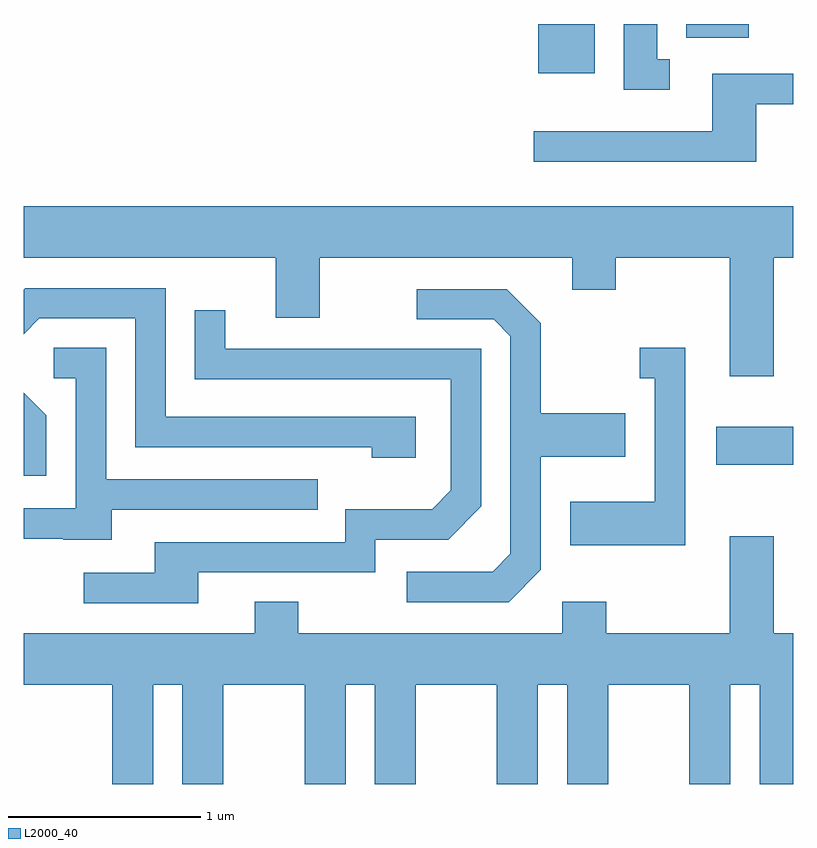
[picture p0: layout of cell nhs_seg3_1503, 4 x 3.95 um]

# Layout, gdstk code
import gdstk
lib = gdstk.Library(unit=1e-6, precision=1e-09)
def R(c, l, rs):  # rectangles x0, y0, x1, y1
    for r in rs: c.add(gdstk.rectangle(r[:2], r[2:], *l))
def P(c, l, *ps):  # polygons
    for p in ps: c.add(gdstk.Polygon(p, *l))
L2000_40 = (2000, 40)

nhs_seg3_1503 = lib.new_cell('nhs_seg3_1503')
R(nhs_seg3_1503, L2000_40, [(233.211,1131.601,233.611,1131.799), (232.286,1133.636,232.579,1133.892), (233.056,1133.821,233.379,1133.892)])
P(nhs_seg3_1503, L2000_40, [(232.968,1133.709),(232.904,1133.709),(232.904,1133.892),(232.731,1133.892),(232.731,1133.551),(232.968,1133.551)],
  [(233.419,1133.476),(233.611,1133.476),(233.611,1133.634),(233.191,1133.634),(233.191,1133.334),(232.263,1133.334),(232.263,1133.176),(233.419,1133.176)],
  [(233.509,1132.676),(233.611,1132.676),(233.611,1132.944),(229.611,1132.944),(229.611,1132.676),(230.921,1132.676),(230.921,1132.366),(231.149,1132.366),(231.149,1132.676),(232.461,1132.676),(232.461,1132.511),(232.689,1132.511),(232.689,1132.676),(233.281,1132.676),(233.281,1132.061),(233.509,1132.061)],
  [(231.649,1131.849),(230.349,1131.849),(230.349,1132.519),(229.619,1132.519),(229.611,1132.511),(229.611,1132.28),(229.692,1132.361),(230.191,1132.361),(230.191,1131.691),(231.421,1131.691),(231.421,1131.636),(231.649,1131.636)],
  [(232.299,1131.054),(232.299,1131.641),(232.739,1131.641),(232.739,1131.869),(232.299,1131.869),(232.299,1132.337),(232.122,1132.514),(231.653,1132.514),(231.653,1132.356),(232.054,1132.356),(232.141,1132.269),(232.141,1131.137),(232.049,1131.044),(231.603,1131.044),(231.603,1130.886),(232.132,1130.886)],
  [(230.519,1131.041),(231.439,1131.041),(231.439,1131.211),(231.817,1131.211),(231.989,1131.384),(231.989,1132.204),(230.659,1132.204),(230.659,1132.403),(230.501,1132.403),(230.501,1132.046),(231.831,1132.046),(231.831,1131.467),(231.734,1131.369),(231.281,1131.369),(231.281,1131.199),(230.291,1131.199),(230.291,1131.039),(229.923,1131.039),(229.923,1130.881),(230.519,1130.881)],
  [(230.069,1131.366),(231.138,1131.366),(231.138,1131.524),(230.039,1131.524),(230.039,1132.209),(229.768,1132.209),(229.768,1132.051),(229.881,1132.051),(229.881,1131.374),(229.611,1131.374),(229.611,1131.216),(229.815,1131.216),(229.815,1131.211),(230.069,1131.211)],
  [(233.049,1132.209),(232.813,1132.209),(232.813,1132.051),(232.891,1132.051),(232.891,1131.409),(232.451,1131.409),(232.451,1131.181),(233.049,1131.181)],
  [(229.729,1131.857),(229.611,1131.975),(229.611,1131.543),(229.729,1131.543)],
  [(230.284,1130.456),(230.436,1130.456),(230.436,1129.941),(230.649,1129.941),(230.649,1130.456),(231.071,1130.456),(231.071,1129.941),(231.284,1129.941),(231.284,1130.456),(231.436,1130.456),(231.436,1129.941),(231.649,1129.941),(231.649,1130.456),(232.071,1130.456),(232.071,1129.941),(232.284,1129.941),(232.284,1130.456),(232.436,1130.456),(232.436,1129.941),(232.649,1129.941),(232.649,1130.456),(233.071,1130.456),(233.071,1129.941),(233.284,1129.941),(233.284,1130.456),(233.436,1130.456),(233.436,1129.941),(233.611,1129.941),(233.611,1130.724),(233.509,1130.724),(233.509,1131.229),(233.281,1131.229),(233.281,1130.724),(232.639,1130.724),(232.639,1130.889),(232.411,1130.889),(232.411,1130.724),(231.039,1130.724),(231.039,1130.889),(230.811,1130.889),(230.811,1130.724),(229.611,1130.724),(229.611,1130.456),(230.071,1130.456),(230.071,1129.941),(230.284,1129.941)])

lib.write_gds('nhs_seg3_1503.gds')
